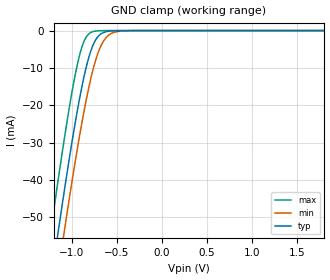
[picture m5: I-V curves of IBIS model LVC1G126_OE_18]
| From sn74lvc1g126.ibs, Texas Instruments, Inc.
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[Model]   LVC1G126_OE_18
Model_type  Input
Vinl=0.5775
Vinh=1.2675
| variable   typ   min   max
C_comp   1.10pF   0.92pF   1.32pF
[Temperature Range]   40   100   -40
| Ambient temperature   25   85   -40
[Voltage range]   1.8   1.65   1.95
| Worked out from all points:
|   GND clamp passes 1 mA (typ) near -0.68 V on its own axis
[GND Clamp]
| LVC1G126_OE_18
|   Voltage   I(typ)   I(min)   I(max)
-5.5V     -872.3mA   -880mA     -863mA
-1.235V   -68.47mA   -79.32mA   -54.53mA
-1.155V   -55.02mA   -65.9mA    -41.02mA
-1.09V    -44.44mA   -55.28mA   -30.51mA
-1.07V    -41.27mA   -52.08mA   -27.39mA
-955mV    -24.08mA   -34.45mA   -11.33mA
-865mV    -12.71mA   -22.05mA   -3.093mA
-745mV    -3.048mA   -8.978mA   -175.9uA
-670mV    -836.3uA   -3.901mA   -23.18uA
-590mV    -176.2uA   -1.257mA   -2.616uA
-340mV    -1.112uA   -19.62uA   -2.839nA
1.8V      1.111nA    59.61nA    3.29pA
